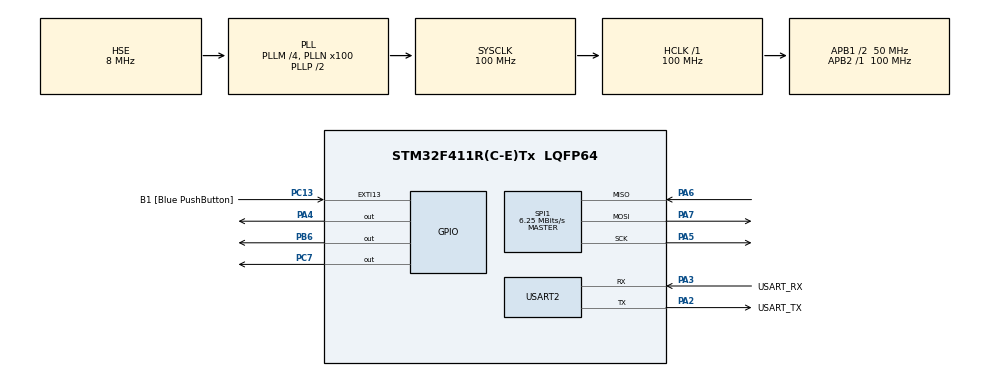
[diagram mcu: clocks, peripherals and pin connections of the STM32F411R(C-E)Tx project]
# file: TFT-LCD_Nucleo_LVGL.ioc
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Mcu.Family=STM32F4
Mcu.Name=STM32F411R(C-E)Tx
Mcu.Package=LQFP64
NVIC.PriorityGroup=NVIC_PRIORITYGROUP_0
PA13.GPIO_Label=TMS
PA13.Mode=Serial_Wire
PA13.Signal=SYS_JTMS-SWDIO
PA14.GPIO_Label=TCK
PA14.Mode=Serial_Wire
PA14.Signal=SYS_JTCK-SWCLK
PA2.GPIO_Label=USART_TX
PA2.Mode=Asynchronous
PA2.Signal=USART2_TX
PA3.GPIO_Label=USART_RX
PA3.Mode=Asynchronous
PA3.Signal=USART2_RX
PA4.GPIO_PuPd=GPIO_PULLUP
PA4.GPIO_Speed=GPIO_SPEED_FREQ_VERY_HIGH
PA4.PinState=GPIO_PIN_SET
PA4.Signal=GPIO_Output
PA5.Mode=Full_Duplex_Master
PA5.Signal=SPI1_SCK
PA6.Mode=Full_Duplex_Master
PA6.Signal=SPI1_MISO
PA7.Mode=Full_Duplex_Master
PA7.Signal=SPI1_MOSI
PB3.GPIO_Label=SWO
PB3.Signal=SYS_JTDO-SWO
PB6.GPIO_PuPd=GPIO_PULLUP
PB6.GPIO_Speed=GPIO_SPEED_FREQ_VERY_HIGH
PB6.PinState=GPIO_PIN_SET
PB6.Signal=GPIO_Output
PC13-ANTI_TAMP.GPIO_Label=B1 [Blue PushButton]
PC13-ANTI_TAMP.GPIO_ModeDefaultEXTI=GPIO_MODE_IT_FALLING
PC13-ANTI_TAMP.Signal=GPXTI13
PC14-OSC32_IN.Mode=LSE-External-Oscillator
PC14-OSC32_IN.Signal=RCC_OSC32_IN
PC15-OSC32_OUT.Mode=LSE-External-Oscillator
PC15-OSC32_OUT.Signal=RCC_OSC32_OUT
PC7.GPIO_PuPd=GPIO_PULLUP
PC7.PinState=GPIO_PIN_SET
PC7.Signal=GPIO_Output
PH0\ -\ OSC_IN.Mode=HSE-External-Clock-Source
PH0\ -\ OSC_IN.Signal=RCC_OSC_IN
PH1\ -\ OSC_OUT.Mode=HSE-External-Clock-Source
PH1\ -\ OSC_OUT.Signal=RCC_OSC_OUT
ProjectManager.HeapSize=0x200
ProjectManager.StackSize=0x400
ProjectManager.TargetToolchain=STM32CubeIDE
RCC.48MHZClocksFreq_Value=50000000
RCC.AHBFreq_Value=100000000
RCC.APB1CLKDivider=RCC_HCLK_DIV2
RCC.APB1Freq_Value=50000000
RCC.APB1TimFreq_Value=100000000
RCC.APB2Freq_Value=100000000
RCC.APB2TimFreq_Value=100000000
RCC.CortexFreq_Value=100000000
RCC.FLatency-AdvancedSettings=FLASH_LATENCY_3
RCC.HCLKFreq_Value=100000000
RCC.HSE_VALUE=8000000
RCC.HSI_VALUE=16000000
RCC.PLLM=4
RCC.PLLN=100
RCC.PLLSourceVirtual=RCC_PLLSOURCE_HSE
RCC.SYSCLKFreq_VALUE=100000000
RCC.SYSCLKSource=RCC_SYSCLKSOURCE_PLLCLK
RCC.VCOOutputFreq_Value=200000000
SPI1.BaudRatePrescaler=SPI_BAUDRATEPRESCALER_16
SPI1.CalculateBaudRate=6.25 MBits/s
SPI1.Direction=SPI_DIRECTION_2LINES
SPI1.Mode=SPI_MODE_MASTER
SPI1.VirtualType=VM_MASTER
USART2.VirtualMode=VM_ASYNC
board=NUCLEO-F411RE

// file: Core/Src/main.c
/* USER CODE BEGIN Header */
/**
  ******************************************************************************
  * @file           : main.c
  * @brief          : Main program body
  ******************************************************************************
  * @attention
  *
  * Copyright (c) 2024 STMicroelectronics.
  * All rights reserved.
  *
  * This software is licensed under terms that can be found in the LICENSE file
  * in the root directory of this software component.
  * If no LICENSE file comes with this software, it is provided AS-IS.
  *
  ******************************************************************************
  */
/* USER CODE END Header */
#include "main.h"
#include "spi.h"
#include "usart.h"
#include "gpio.h"

/* USER CODE BEGIN Includes */
#include "ILI9486.h"
#include "lvgl.h"
#include "ui.h"
/* USER CODE END Includes */

void SystemClock_Config(void);
/* USER CODE BEGIN PFP */
void my_flush_cb(lv_display_t * display, const lv_area_t * area, uint8_t * px_map);
/* USER CODE END PFP */

/* USER CODE BEGIN 0 */

/* Declare buffer for 1/10 screen size; BYTES_PER_PIXEL will be 2 for RGB565. */
#define BYTES_PER_PIXEL 2
static uint8_t buf1[TFT_WIDTH * TFT_HEIGHT / 10 * BYTES_PER_PIXEL];

/* USER CODE END 0 */

int main(void)
{

  /* MCU Configuration--------------------------------------------------------*/

  /* Reset of all peripherals, Initializes the Flash interface and the Systick. */
  HAL_Init();

  /* Configure the system clock */
  SystemClock_Config();

  /* Initialize all configured peripherals */
  MX_GPIO_Init();
  MX_USART2_UART_Init();
  MX_SPI1_Init();
  /* USER CODE BEGIN 2 */
lcd_config();

lv_init();
lv_tick_set_cb(HAL_GetTick);

lv_display_t * display1 = lv_display_create(TFT_WIDTH, TFT_HEIGHT);

/* Set display buffer for display `display1`. */
lv_display_set_buffers(display1, buf1, NULL, sizeof(buf1), LV_DISPLAY_RENDER_MODE_PARTIAL);

lv_display_set_flush_cb(display1, my_flush_cb);

ui_init();
//lcd_setbackgroundcolor(ILI9486_DARKGREEN);

  /* USER CODE END 2 */

  /* Infinite loop */
  while (1)
  {

    /* USER CODE BEGIN 3 */
	  uint32_t time_till_next = lv_timer_handler();
	  HAL_Delay(time_till_next);
  }
  /* USER CODE END 3 */
}

void SystemClock_Config(void)
{
  RCC_OscInitTypeDef RCC_OscInitStruct = {0};
  RCC_ClkInitTypeDef RCC_ClkInitStruct = {0};

  /** Configure the main internal regulator output voltage
  */
  __HAL_RCC_PWR_CLK_ENABLE();
  __HAL_PWR_VOLTAGESCALING_CONFIG(PWR_REGULATOR_VOLTAGE_SCALE1);

  /** Initializes the RCC Oscillators according to the specified parameters
  * in the RCC_OscInitTypeDef structure.
  */
  RCC_OscInitStruct.OscillatorType = RCC_OSCILLATORTYPE_HSE;
  RCC_OscInitStruct.HSEState = RCC_HSE_BYPASS;
  RCC_OscInitStruct.PLL.PLLState = RCC_PLL_ON;
  RCC_OscInitStruct.PLL.PLLSource = RCC_PLLSOURCE_HSE;
  RCC_OscInitStruct.PLL.PLLM = 4;
  RCC_OscInitStruct.PLL.PLLN = 100;
  RCC_OscInitStruct.PLL.PLLP = RCC_PLLP_DIV2;
  RCC_OscInitStruct.PLL.PLLQ = 4;
  if (HAL_RCC_OscConfig(&RCC_OscInitStruct) != HAL_OK)
  {
    Error_Handler();
  }

  /** Initializes the CPU, AHB and APB buses clocks
  */
  RCC_ClkInitStruct.ClockType = RCC_CLOCKTYPE_HCLK|RCC_CLOCKTYPE_SYSCLK
                              |RCC_CLOCKTYPE_PCLK1|RCC_CLOCKTYPE_PCLK2;
  RCC_ClkInitStruct.SYSCLKSource = RCC_SYSCLKSOURCE_PLLCLK;
  RCC_ClkInitStruct.AHBCLKDivider = RCC_SYSCLK_DIV1;
  RCC_ClkInitStruct.APB1CLKDivider = RCC_HCLK_DIV2;
  RCC_ClkInitStruct.APB2CLKDivider = RCC_HCLK_DIV1;

  if (HAL_RCC_ClockConfig(&RCC_ClkInitStruct, FLASH_LATENCY_3) != HAL_OK)
  {
    Error_Handler();
  }
}

/* USER CODE BEGIN 4 */
void my_flush_cb(lv_display_t * display, const lv_area_t * area, uint8_t * px_map)
{
	static uint16_t x1 = 0;
	static uint16_t x2 = 0;
	static uint16_t y1 = 0;
	static uint16_t y2 = 0;
	static uint8_t temp[2];

	x1 = (uint16_t)area->x1;
	x2 = (uint16_t)area->x2;
	y1 = (uint16_t)area->y1;
	y2 = (uint16_t)area->y2;

	CS_LOW();
    lcd_set_display_area(x1, x2, y1, y2);
    DC_D();
    uint16_t * buf16 = (uint16_t *)px_map; /* Let's say it's a 16 bit (RGB565) display */

    int32_t x, y;
    for(y = area->y1; y <= area->y2; y++) {
        for(x = area->x1; x <= area->x2; x++) {
            temp[0] = ((*buf16 >> 8) & 0xFF);
            temp[1] = (*buf16 & 0xFF);
        	HAL_SPI_Transmit(&hspi1, temp, 2, 10);
            buf16++;
        }
    }

    CS_HIGH();
    /* IMPORTANT!!!
     * Inform LVGL that flushing is complete so buffer can be modified again. */
    lv_display_flush_ready(display);
}

/* USER CODE END 4 */

void Error_Handler(void)
{
  __disable_irq();
  while (1)
  {
  }
}
